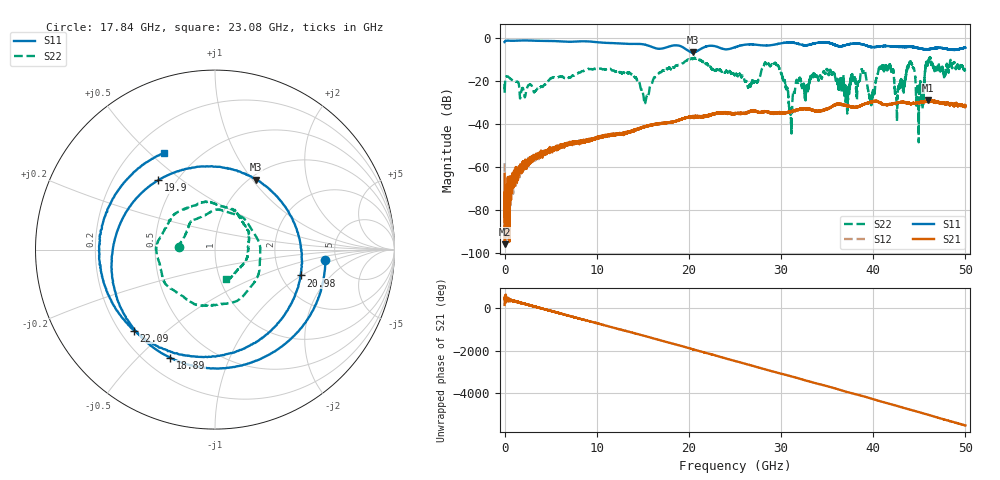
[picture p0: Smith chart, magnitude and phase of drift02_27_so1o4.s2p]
!Created with skrf (http://scikit-rf.org).
# Hz S RI R 50.0
!freq ReS11 ImS11 ReS21 ImS21 ReS12 ImS12 ReS22 ImS22
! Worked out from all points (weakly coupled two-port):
!   10001 points, 300 kHz to 50 GHz, reference 50 ohm
!   highest |S21| = -29.07 dB at 45.89 GHz (marker M1); lowest = -96.1 dB at 25.3 MHz (marker M2)
!   lowest |S11| = -6.9 dB at 20.4 GHz (marker M3), VSWR 2.64, Z = 53.2 + j52 ohm
!   |S11| at or under -10 dB: nowhere
!   |S22| runs from -48.7 to -9.0 dB; largest |S21 - S12| = 0.004
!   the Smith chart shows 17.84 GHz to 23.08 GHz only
!   S11 on the Smith chart (normalised r, x): 17.84 GHz: 4.08, -0.75; 18.89 GHz: 0.30, -0.63; 19.9 GHz: 0.40, +0.41; 20.98 GHz: 2.56, -0.98; 22.09 GHz: 0.26, -0.39; 23.08 GHz: 0.32, +0.56
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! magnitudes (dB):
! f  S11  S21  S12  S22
! 300 kHz  -2.1  -63.3  -58.3  -21.6
! 25.3 MHz  -1.9  -96.1  -74.1  -23.2
! 8.335 GHz  -1.7  -48.4  -48.7  -15.8
! 15.32 GHz  -3.4  -41.4  -41.3  -29.3
! 16.67 GHz  -5.2  -40.1  -40.0  -16.9
! 17.84 GHz  -4.2  -39.3  -39.5  -14.0
! 18.89 GHz  -3.7  -38.4  -38.5  -12.5
! 19.9 GHz  -6.0  -37.1  -37.0  -10.1
! 20.4 GHz  -6.9  -36.6  -36.9  -10.0
! 20.98 GHz  -6.1  -36.8  -36.4  -9.7
! 22.09 GHz  -3.9  -36.2  -36.0  -12.8
! 23.08 GHz  -4.3  -35.0  -35.3  -15.1
! 25 GHz  -4.5  -35.2  -35.3  -17.5
! 29.5 GHz  -3.0  -35.0  -35.0  -12.6
! 31.04 GHz  -2.3  -34.7  -34.5  -34.7
! 33.34 GHz  -3.1  -33.6  -33.6  -18.0
! 38.91 GHz  -3.2  -31.2  -31.2  -16.2
! 39.74 GHz  -4.2  -30.1  -30.0  -29.5
! 41.67 GHz  -4.0  -31.0  -31.2  -13.0
! 45.15 GHz  -5.1  -29.9  -29.8  -22.2
! 45.89 GHz  -5.4  -29.1  -29.5  -12.0
! 50 GHz  -4.7  -31.5  -31.7  -15.5
